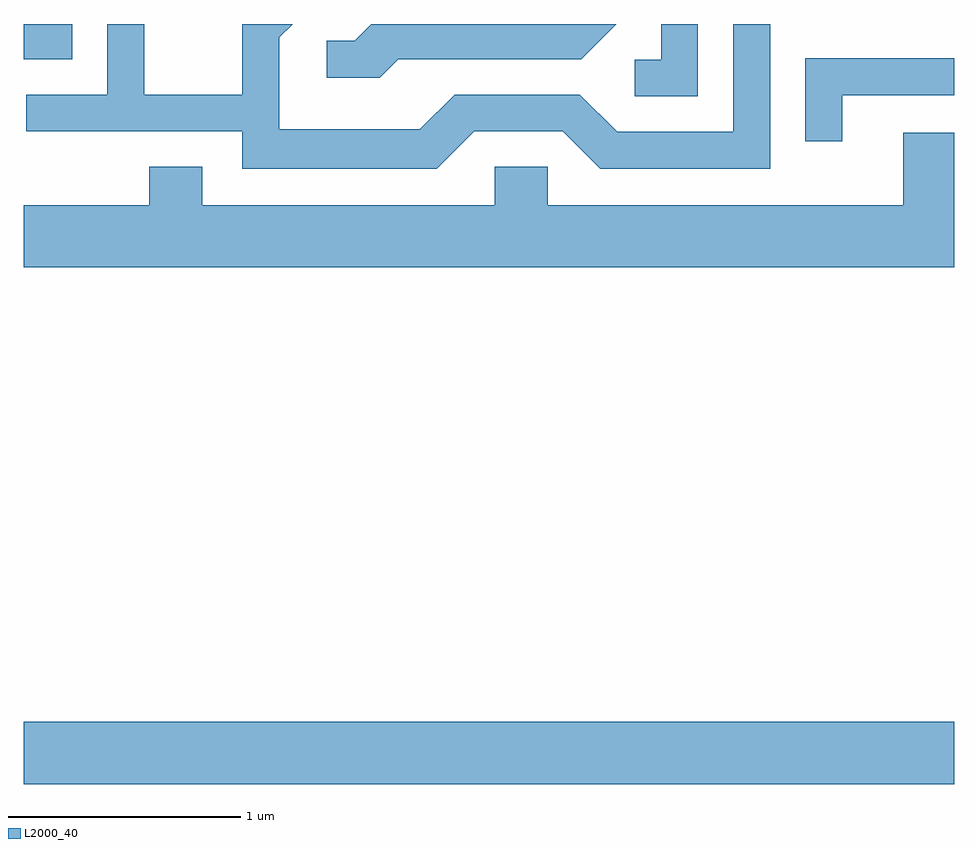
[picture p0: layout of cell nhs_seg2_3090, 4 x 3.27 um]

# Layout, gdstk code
import gdstk
lib = gdstk.Library(unit=1e-6, precision=1e-09)
def R(c, l, rs):  # rectangles x0, y0, x1, y1
    for r in rs: c.add(gdstk.rectangle(r[:2], r[2:], *l))
def P(c, l, *ps):  # polygons
    for p in ps: c.add(gdstk.Polygon(p, *l))
L2000_40 = (2000, 40)

nhs_seg2_3090 = lib.new_cell('nhs_seg2_3090')
R(nhs_seg2_3090, L2000_40, [(275.611,1050.536,279.611,1050.804), (275.611,1053.651,275.819,1053.802)])
P(nhs_seg2_3090, L2000_40, [(277.222,1053.651),(278.007,1053.651),(278.157,1053.802),(277.106,1053.802),(277.034,1053.729),(276.913,1053.729),(276.913,1053.571),(277.142,1053.571)],
  [(278.509,1053.802),(278.351,1053.802),(278.351,1053.649),(278.238,1053.649),(278.238,1053.491),(278.509,1053.491)],
  [(277.547,1053.341),(277.929,1053.341),(278.089,1053.181),(278.819,1053.181),(278.819,1053.802),(278.661,1053.802),(278.661,1053.339),(278.162,1053.339),(278.002,1053.499),(277.464,1053.499),(277.314,1053.349),(276.709,1053.349),(276.709,1053.744),(276.767,1053.802),(276.551,1053.802),(276.551,1053.499),(276.129,1053.499),(276.129,1053.802),(275.971,1053.802),(275.971,1053.499),(275.623,1053.499),(275.623,1053.341),(276.551,1053.341),(276.551,1053.181),(277.387,1053.181)],
  [(279.129,1053.496),(279.611,1053.496),(279.611,1053.654),(278.971,1053.654),(278.971,1053.298),(279.129,1053.298)],
  [(279.611,1053.334),(279.391,1053.334),(279.391,1053.024),(277.864,1053.024),(277.864,1053.189),(277.636,1053.189),(277.636,1053.024),(276.379,1053.024),(276.379,1053.189),(276.151,1053.189),(276.151,1053.024),(275.611,1053.024),(275.611,1052.756),(279.611,1052.756)])

lib.write_gds('nhs_seg2_3090.gds')
